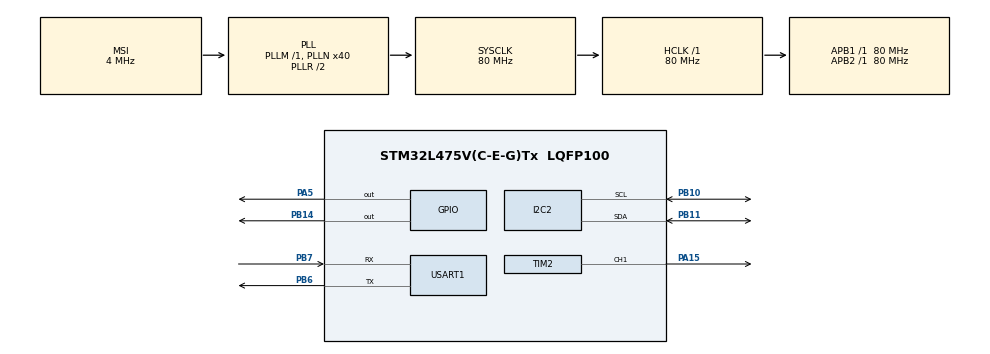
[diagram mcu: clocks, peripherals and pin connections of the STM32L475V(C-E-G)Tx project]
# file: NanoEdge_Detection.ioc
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Dma.Request0=TIM2_CH1
Dma.TIM2_CH1.0.Direction=DMA_MEMORY_TO_PERIPH
Dma.TIM2_CH1.0.Instance=DMA1_Channel5
Dma.TIM2_CH1.0.MemDataAlignment=DMA_MDATAALIGN_WORD
Dma.TIM2_CH1.0.MemInc=DMA_MINC_ENABLE
Dma.TIM2_CH1.0.Mode=DMA_NORMAL
Dma.TIM2_CH1.0.PeriphDataAlignment=DMA_PDATAALIGN_WORD
Dma.TIM2_CH1.0.PeriphInc=DMA_PINC_DISABLE
Dma.TIM2_CH1.0.Priority=DMA_PRIORITY_LOW
I2C2.Timing=0x10D19CE4
Mcu.Family=STM32L4
Mcu.Name=STM32L475V(C-E-G)Tx
Mcu.Package=LQFP100
NVIC.DMA1_Channel5_IRQn=true\:0\:0\:false\:false\:true\:false\:true\:true
NVIC.PriorityGroup=NVIC_PRIORITYGROUP_4
PA15\ (JTDI).Signal=S_TIM2_CH1
PA5.Signal=GPIO_Output
PB10.Mode=I2C
PB10.Signal=I2C2_SCL
PB11.Mode=I2C
PB11.Signal=I2C2_SDA
PB14.Signal=GPIO_Output
PB6.Mode=Asynchronous
PB6.Signal=USART1_TX
PB7.Mode=Asynchronous
PB7.Signal=USART1_RX
ProjectManager.HeapSize=0x200
ProjectManager.StackSize=0x400
ProjectManager.TargetToolchain=STM32CubeIDE
RCC.AHBFreq_Value=80000000
RCC.APB1Freq_Value=80000000
RCC.APB1TimFreq_Value=80000000
RCC.APB2Freq_Value=80000000
RCC.APB2TimFreq_Value=80000000
RCC.CortexFreq_Value=80000000
RCC.HCLKFreq_Value=80000000
RCC.HSE_VALUE=8000000
RCC.HSI_VALUE=16000000
RCC.LSE_VALUE=32768
RCC.MSI_VALUE=4000000
RCC.PLLN=40
RCC.SYSCLKFreq_VALUE=80000000
RCC.SYSCLKSource=RCC_SYSCLKSOURCE_PLLCLK
RCC.VCOOutputFreq_Value=160000000
SH.S_TIM2_CH1.0=TIM2_CH1,PWM Generation1 CH1
TIM2.Channel-PWM\ Generation1\ CH1=TIM_CHANNEL_1
TIM2.Period=100
USART1.VirtualMode-Asynchronous=VM_ASYNC
board=custom

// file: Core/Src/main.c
/* USER CODE BEGIN Header */
/**
  ******************************************************************************
  * @file           : main.c
  * @brief          : Main program body
  ******************************************************************************
  * @attention
  *
  * Copyright (c) 2025 STMicroelectronics.
  * All rights reserved.
  *
  * This software is licensed under terms that can be found in the LICENSE file
  * in the root directory of this software component.
  * If no LICENSE file comes with this software, it is provided AS-IS.
  *
  ******************************************************************************
  */
/* USER CODE END Header */
#include "main.h"

/* USER CODE BEGIN Includes */
#include <string.h>
#include <stdio.h>
#include "LSM6DSL.h"
#include "NanoEdgeAI.h"
#include "WS2812.h"
/* USER CODE END Includes */

I2C_HandleTypeDef hi2c2;

TIM_HandleTypeDef htim2;
DMA_HandleTypeDef hdma_tim2_ch1;

UART_HandleTypeDef huart1;

void SystemClock_Config(void);
static void MX_GPIO_Init(void);
static void MX_DMA_Init(void);
static void MX_I2C2_Init(void);
static void MX_USART1_UART_Init(void);
static void MX_TIM2_Init(void);

/* USER CODE BEGIN 0 */
#define LEARNING_ITERATIONS 20
float input_user_buffer[DATA_INPUT_USER * AXIS_NUMBER];

void fill_buffer(float input_buffer[]) {
	uint16_t i;
	for (i = 0; i < DATA_INPUT_USER; i++) {
		while (!LSM6DSL_DataReady());
		LSM6DSL_ReadAccel(&input_user_buffer[AXIS_NUMBER * i]);
	}
}

int __io_putchar(int ch)
{
	uint8_t c[1];
	c[0] = ch & 0x00FF;
	HAL_UART_Transmit(&huart1, &*c, 1, 10);
	return ch;
}
/* USER CODE END 0 */

int main(void)
{

  /* MCU Configuration--------------------------------------------------------*/

  /* Reset of all peripherals, Initializes the Flash interface and the Systick. */
  HAL_Init();

  /* Configure the system clock */
  SystemClock_Config();

  /* Initialize all configured peripherals */
  MX_GPIO_Init();
  MX_DMA_Init();
  MX_I2C2_Init();
  MX_USART1_UART_Init();
  MX_TIM2_Init();
  /* USER CODE BEGIN 2 */

  LSM6DSL_Init();

  enum neai_state error_code = neai_anomalydetection_init();
  uint8_t similarity = 0;

  if (error_code != NEAI_OK) {
	/* This happens if the library works into a not supported board. */
  }

  WS2812_Clear_LED();
  WS2812_Update();

	for (uint16_t iteration = 0; iteration < LEARNING_ITERATIONS; iteration++) {
		fill_buffer(input_user_buffer);
		neai_anomalydetection_learn(input_user_buffer);

		WS2812_Clear_LED();
		WS2812_Set_LED(iteration%6, 0, 0, 255);
		WS2812_Update();
	}

  /* USER CODE END 2 */

  /* Infinite loop */
  while (1)
  {

    /* USER CODE BEGIN 3 */
		fill_buffer(input_user_buffer);
		neai_anomalydetection_detect(input_user_buffer, &similarity);
		if (similarity < 90) {
			printf("----> Abnormal: %d\r\n", similarity);
			WS2812_Clear_LED();
			WS2812_Set_All_LED(255, 0, 0);
			WS2812_Update();
		} else {
			printf("Regular: %d\r\n", similarity);
			WS2812_Clear_LED();
			WS2812_Set_All_LED(0, 255, 0);
			WS2812_Update();
		}
  }
  /* USER CODE END 3 */
}

void SystemClock_Config(void)
{
  RCC_OscInitTypeDef RCC_OscInitStruct = {0};
  RCC_ClkInitTypeDef RCC_ClkInitStruct = {0};

  /** Configure the main internal regulator output voltage
  */
  if (HAL_PWREx_ControlVoltageScaling(PWR_REGULATOR_VOLTAGE_SCALE1) != HAL_OK)
  {
    Error_Handler();
  }

  /** Initializes the RCC Oscillators according to the specified parameters
  * in the RCC_OscInitTypeDef structure.
  */
  RCC_OscInitStruct.OscillatorType = RCC_OSCILLATORTYPE_MSI;
  RCC_OscInitStruct.MSIState = RCC_MSI_ON;
  RCC_OscInitStruct.MSICalibrationValue = 0;
  RCC_OscInitStruct.MSIClockRange = RCC_MSIRANGE_6;
  RCC_OscInitStruct.PLL.PLLState = RCC_PLL_ON;
  RCC_OscInitStruct.PLL.PLLSource = RCC_PLLSOURCE_MSI;
  RCC_OscInitStruct.PLL.PLLM = 1;
  RCC_OscInitStruct.PLL.PLLN = 40;
  RCC_OscInitStruct.PLL.PLLP = RCC_PLLP_DIV7;
  RCC_OscInitStruct.PLL.PLLQ = RCC_PLLQ_DIV2;
  RCC_OscInitStruct.PLL.PLLR = RCC_PLLR_DIV2;
  if (HAL_RCC_OscConfig(&RCC_OscInitStruct) != HAL_OK)
  {
    Error_Handler();
  }

  /** Initializes the CPU, AHB and APB buses clocks
  */
  RCC_ClkInitStruct.ClockType = RCC_CLOCKTYPE_HCLK|RCC_CLOCKTYPE_SYSCLK
                              |RCC_CLOCKTYPE_PCLK1|RCC_CLOCKTYPE_PCLK2;
  RCC_ClkInitStruct.SYSCLKSource = RCC_SYSCLKSOURCE_PLLCLK;
  RCC_ClkInitStruct.AHBCLKDivider = RCC_SYSCLK_DIV1;
  RCC_ClkInitStruct.APB1CLKDivider = RCC_HCLK_DIV1;
  RCC_ClkInitStruct.APB2CLKDivider = RCC_HCLK_DIV1;

  if (HAL_RCC_ClockConfig(&RCC_ClkInitStruct, FLASH_LATENCY_4) != HAL_OK)
  {
    Error_Handler();
  }
}

static void MX_I2C2_Init(void)
{

  hi2c2.Instance = I2C2;
  hi2c2.Init.Timing = 0x10D19CE4;
  hi2c2.Init.OwnAddress1 = 0;
  hi2c2.Init.AddressingMode = I2C_ADDRESSINGMODE_7BIT;
  hi2c2.Init.DualAddressMode = I2C_DUALADDRESS_DISABLE;
  hi2c2.Init.OwnAddress2 = 0;
  hi2c2.Init.OwnAddress2Masks = I2C_OA2_NOMASK;
  hi2c2.Init.GeneralCallMode = I2C_GENERALCALL_DISABLE;
  hi2c2.Init.NoStretchMode = I2C_NOSTRETCH_DISABLE;
  if (HAL_I2C_Init(&hi2c2) != HAL_OK)
  {
    Error_Handler();
  }

  /** Configure Analogue filter
  */
  if (HAL_I2CEx_ConfigAnalogFilter(&hi2c2, I2C_ANALOGFILTER_ENABLE) != HAL_OK)
  {
    Error_Handler();
  }

  /** Configure Digital filter
  */
  if (HAL_I2CEx_ConfigDigitalFilter(&hi2c2, 0) != HAL_OK)
  {
    Error_Handler();
  }

}

static void MX_TIM2_Init(void)
{

  TIM_MasterConfigTypeDef sMasterConfig = {0};
  TIM_OC_InitTypeDef sConfigOC = {0};

  htim2.Instance = TIM2;
  htim2.Init.Prescaler = 0;
  htim2.Init.CounterMode = TIM_COUNTERMODE_UP;
  htim2.Init.Period = 100;
  htim2.Init.ClockDivision = TIM_CLOCKDIVISION_DIV1;
  htim2.Init.AutoReloadPreload = TIM_AUTORELOAD_PRELOAD_DISABLE;
  if (HAL_TIM_PWM_Init(&htim2) != HAL_OK)
  {
    Error_Handler();
  }
  sMasterConfig.MasterOutputTrigger = TIM_TRGO_RESET;
  sMasterConfig.MasterSlaveMode = TIM_MASTERSLAVEMODE_DISABLE;
  if (HAL_TIMEx_MasterConfigSynchronization(&htim2, &sMasterConfig) != HAL_OK)
  {
    Error_Handler();
  }
  sConfigOC.OCMode = TIM_OCMODE_PWM1;
  sConfigOC.Pulse = 0;
  sConfigOC.OCPolarity = TIM_OCPOLARITY_HIGH;
  sConfigOC.OCFastMode = TIM_OCFAST_DISABLE;
  if (HAL_TIM_PWM_ConfigChannel(&htim2, &sConfigOC, TIM_CHANNEL_1) != HAL_OK)
  {
    Error_Handler();
  }
  HAL_TIM_MspPostInit(&htim2);

}

static void MX_USART1_UART_Init(void)
{

  huart1.Instance = USART1;
  huart1.Init.BaudRate = 115200;
  huart1.Init.WordLength = UART_WORDLENGTH_8B;
  huart1.Init.StopBits = UART_STOPBITS_1;
  huart1.Init.Parity = UART_PARITY_NONE;
  huart1.Init.Mode = UART_MODE_TX_RX;
  huart1.Init.HwFlowCtl = UART_HWCONTROL_NONE;
  huart1.Init.OverSampling = UART_OVERSAMPLING_16;
  huart1.Init.OneBitSampling = UART_ONE_BIT_SAMPLE_DISABLE;
  huart1.AdvancedInit.AdvFeatureInit = UART_ADVFEATURE_NO_INIT;
  if (HAL_UART_Init(&huart1) != HAL_OK)
  {
    Error_Handler();
  }

}

static void MX_DMA_Init(void)
{

  /* DMA controller clock enable */
  __HAL_RCC_DMA1_CLK_ENABLE();

  /* DMA interrupt init */
  /* DMA1_Channel5_IRQn interrupt configuration */
  HAL_NVIC_SetPriority(DMA1_Channel5_IRQn, 0, 0);
  HAL_NVIC_EnableIRQ(DMA1_Channel5_IRQn);

}

static void MX_GPIO_Init(void)
{
  GPIO_InitTypeDef GPIO_InitStruct = {0};

  /* GPIO Ports Clock Enable */
  __HAL_RCC_GPIOA_CLK_ENABLE();
  __HAL_RCC_GPIOB_CLK_ENABLE();

  /*Configure GPIO pin Output Level */
  HAL_GPIO_WritePin(GPIOA, GPIO_PIN_5, GPIO_PIN_RESET);

  /*Configure GPIO pin Output Level */
  HAL_GPIO_WritePin(GPIOB, GPIO_PIN_14, GPIO_PIN_RESET);

  /*Configure GPIO pin : PA5 */
  GPIO_InitStruct.Pin = GPIO_PIN_5;
  GPIO_InitStruct.Mode = GPIO_MODE_OUTPUT_PP;
  GPIO_InitStruct.Pull = GPIO_NOPULL;
  GPIO_InitStruct.Speed = GPIO_SPEED_FREQ_LOW;
  HAL_GPIO_Init(GPIOA, &GPIO_InitStruct);

  /*Configure GPIO pin : PB14 */
  GPIO_InitStruct.Pin = GPIO_PIN_14;
  GPIO_InitStruct.Mode = GPIO_MODE_OUTPUT_PP;
  GPIO_InitStruct.Pull = GPIO_NOPULL;
  GPIO_InitStruct.Speed = GPIO_SPEED_FREQ_LOW;
  HAL_GPIO_Init(GPIOB, &GPIO_InitStruct);

}

void Error_Handler(void)
{
  __disable_irq();
  while (1)
  {
  }
}
